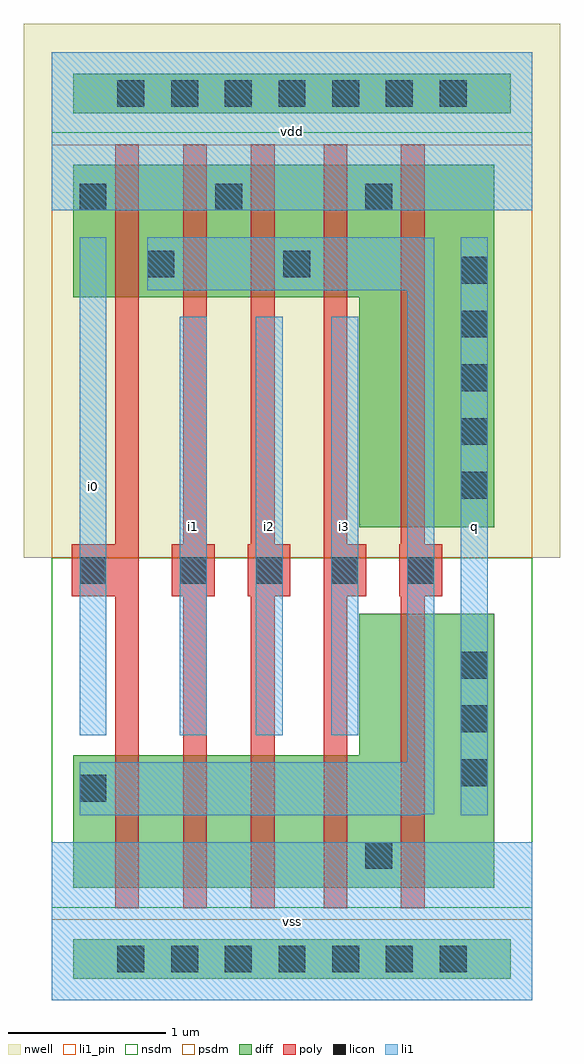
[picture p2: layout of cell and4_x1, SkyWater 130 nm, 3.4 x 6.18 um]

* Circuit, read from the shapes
.subckt and4_x1 i0 i1 i2 i3 q vdd vss
XM1 n1 i0 n2 VSUBS sky130_fd_pr__nfet_01v8 w=0.84 l=0.15
XM2 n3 i1 n1 VSUBS sky130_fd_pr__nfet_01v8 w=0.84 l=0.15
XM3 n4 i2 n3 VSUBS sky130_fd_pr__nfet_01v8 w=0.84 l=0.15
XM4 vss i3 n4 VSUBS sky130_fd_pr__nfet_01v8 w=0.84 l=0.15
XM5 q n2 vss VSUBS sky130_fd_pr__nfet_01v8 w=1.735 l=0.15
XM6 n2 i0 vdd n5 sky130_fd_pr__pfet_01v8 w=0.84 l=0.15
XM7 vdd i1 n2 n5 sky130_fd_pr__pfet_01v8 w=0.84 l=0.15
XM8 n2 i2 vdd n5 sky130_fd_pr__pfet_01v8 w=0.84 l=0.15
XM9 vdd i3 n2 n5 sky130_fd_pr__pfet_01v8 w=0.84 l=0.15
XM10 q n2 vdd n5 sky130_fd_pr__pfet_01v8 w=2.295 l=0.15
.ends

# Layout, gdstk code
import gdstk
lib = gdstk.Library(unit=1e-6, precision=1e-09)
def R(c, l, rs):  # rectangles x0, y0, x1, y1
    for r in rs: c.add(gdstk.rectangle(r[:2], r[2:], *l))
def A(c, l, x, y, w, h, nx, ny, dx, dy):  # array of equal rectangles
    R(c, l, [(x+i*dx, y+j*dy, x+i*dx+w, y+j*dy+h) for i in range(nx) for j in range(ny)])
def P(c, l, *ps):  # polygons
    for p in ps: c.add(gdstk.Polygon(p, *l))
nwell = (64, 20)
diff = (65, 20)
poly = (66, 20)
licon = (66, 44)
li1_pin = (67, 16)
li1 = (67, 20)
nsdm = (93, 44)
psdm = (94, 20)

and4_x1 = lib.new_cell('and4_x1')
R(and4_x1, nwell, [(-0.18,2.8,3.22,6.18)])
R(and4_x1, diff, [(0.135,0.135,2.905,0.385), (0.135,5.615,2.905,5.865)])
P(and4_x1, diff, [(1.945,2.995),(1.945,4.45),(0.135,4.45),(0.135,5.29),(2.8,5.29),(2.8,2.995)],
  [(0.135,0.71),(0.135,1.55),(1.945,1.55),(1.945,2.445),(2.8,2.445),(2.8,0.71)])
P(and4_x1, poly, [(2.21,0.58),(2.21,2.555),(2.2,2.555),(2.2,2.885),(2.21,2.885),(2.21,5.42),(2.36,5.42),(2.36,2.885),(2.47,2.885),(2.47,2.555),(2.36,2.555),(2.36,0.58)],
  [(0.4,0.58),(0.4,2.555),(0.125,2.555),(0.125,2.885),(0.4,2.885),(0.4,5.42),(0.55,5.42),(0.55,0.58)],
  [(0.83,0.58),(0.83,2.555),(0.76,2.555),(0.76,2.885),(0.83,2.885),(0.83,5.42),(0.98,5.42),(0.98,2.885),(1.03,2.885),(1.03,2.555),(0.98,2.555),(0.98,0.58)],
  [(1.26,0.58),(1.26,2.555),(1.24,2.555),(1.24,2.885),(1.26,2.885),(1.26,5.42),(1.41,5.42),(1.41,2.885),(1.51,2.885),(1.51,2.555),(1.41,2.555),(1.41,0.58)],
  [(1.72,0.58),(1.72,5.42),(1.87,5.42),(1.87,2.885),(1.99,2.885),(1.99,2.555),(1.87,2.555),(1.87,0.58)])
A(and4_x1, licon, 0.415, 0.175, 0.17, 0.17, 7, 2, 0.34, 5.48)
A(and4_x1, licon, 2.59, 1.355, 0.17, 0.17, 1, 3, 0, 0.34)
A(and4_x1, licon, 0.81, 2.635, 0.17, 0.17, 4, 1, 0.48, 0)
A(and4_x1, licon, 2.59, 3.175, 0.17, 0.17, 1, 5, 0, 0.34)
R(and4_x1, licon, [(1.985,0.83,2.155,1), (0.175,1.255,0.345,1.425), (0.175,2.635,0.345,2.805), (0.605,4.575,0.775,4.745), (1.465,4.575,1.635,4.745), (0.175,5,0.345,5.17), (1.035,5,1.205,5.17), (1.985,5,2.155,5.17)])
A(and4_x1, li1_pin, 0.81, 1.675, 0.17, 2.65, 3, 1, 0.48, 0)
R(and4_x1, li1_pin, [(0,0,3.04,1), (2.59,1.17,2.76,4.83), (0.175,1.675,0.345,4.83), (0,5,3.04,6)])
A(and4_x1, li1, 0.81, 1.675, 0.17, 2.65, 3, 1, 0.48, 0)
R(and4_x1, li1, [(0,0,3.04,1), (2.59,1.17,2.76,4.83), (0.175,1.675,0.345,4.83), (0,5,3.04,6)])
P(and4_x1, li1, [(0.175,1.17),(0.175,1.505),(2.25,1.505),(2.25,4.495),(0.605,4.495),(0.605,4.83),(2.335,4.83),(2.335,4.825),(2.42,4.825),(2.42,1.175),(2.335,1.175),(2.335,1.17)])
R(and4_x1, nsdm, [(0,0.585,3.04,2.8), (0,5.49,3.04,6)])
R(and4_x1, psdm, [(0,0,3.04,0.51), (0,2.8,3.04,5.415)])
and4_x1.add(gdstk.Label('vdd', (1.52,5.5), layer=67, texttype=16))
and4_x1.add(gdstk.Label('vss', (1.52,0.5), layer=67, texttype=16))
and4_x1.add(gdstk.Label('i0', (0.26,3.253), layer=67, texttype=16))
and4_x1.add(gdstk.Label('i1', (0.895,3), layer=67, texttype=16))
and4_x1.add(gdstk.Label('i2', (1.375,3), layer=67, texttype=16))
and4_x1.add(gdstk.Label('i3', (1.855,3), layer=67, texttype=16))
and4_x1.add(gdstk.Label('q', (2.675,3), layer=67, texttype=16))

lib.write_gds('and4_x1.gds')
